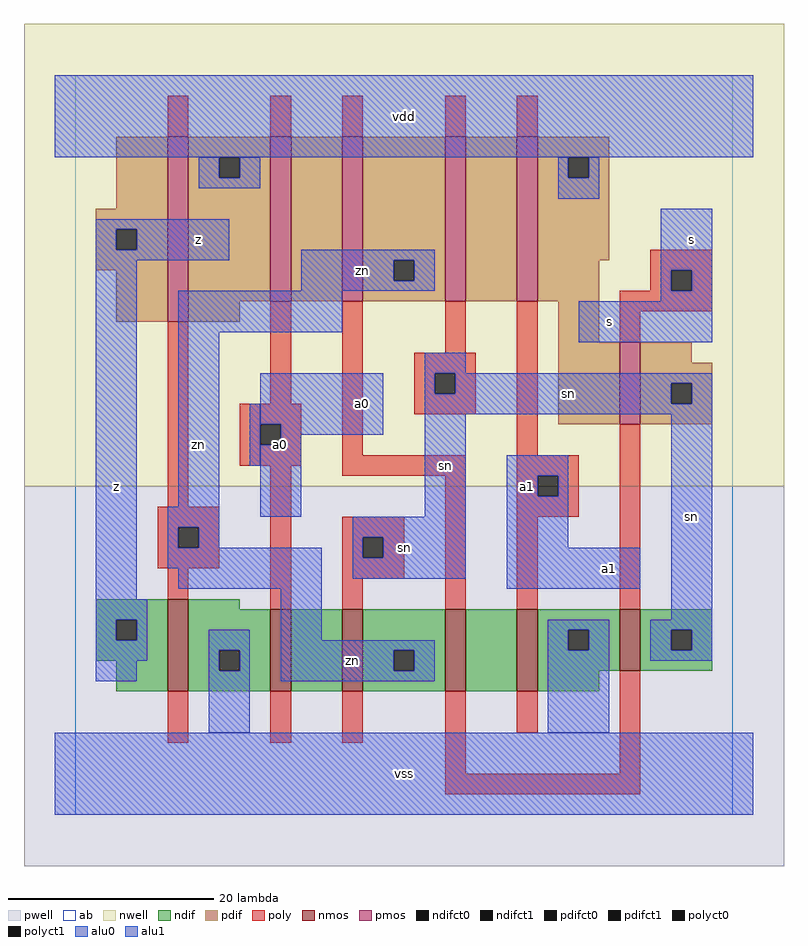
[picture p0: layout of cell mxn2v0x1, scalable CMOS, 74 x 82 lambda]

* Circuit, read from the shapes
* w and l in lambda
.subckt mxn2v0x1 a0 a1 s sn vdd vss z zn
M1 vss zn z VSUBS nfet w=9 l=2
M2 n1 a0 vss VSUBS nfet w=8 l=2
M3 zn sn n1 VSUBS nfet w=8 l=2
M4 n2 s zn VSUBS nfet w=8 l=2
M5 vss a1 n2 VSUBS nfet w=8 l=2
M6 sn s vss VSUBS nfet w=6 l=2
M7 vdd zn z n3 pfet w=18 l=2
M8 n4 a0 vdd n3 pfet w=16 l=2
M9 zn s n4 n3 pfet w=16 l=2
M10 n5 sn zn n3 pfet w=16 l=2
M11 vdd a1 n5 n3 pfet w=16 l=2
M12 sn s vdd n3 pfet w=8 l=2
.ends

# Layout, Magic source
magic
tech scmos
<< ab >>
rect 0 0 64 72
<< nwell >>
rect -5 32 69 77
<< pwell >>
rect -5 -5 69 32
<< poly >>
rect 9 66 11 70
rect 19 66 21 70
rect 26 66 28 70
rect 36 66 38 70
rect 43 66 45 70
rect 56 53 62 55
rect 56 51 58 53
rect 60 51 62 53
rect 9 30 11 48
rect 19 40 21 50
rect 16 38 22 40
rect 16 36 18 38
rect 20 36 22 38
rect 16 34 22 36
rect 26 35 28 50
rect 36 45 38 50
rect 33 43 39 45
rect 33 41 35 43
rect 37 41 39 43
rect 33 39 39 41
rect 43 35 45 50
rect 53 49 62 51
rect 53 46 55 49
rect 8 28 14 30
rect 8 26 10 28
rect 12 26 14 28
rect 8 24 14 26
rect 9 21 11 24
rect 19 20 21 34
rect 26 33 38 35
rect 26 27 32 29
rect 26 25 28 27
rect 30 25 32 27
rect 26 23 32 25
rect 26 20 28 23
rect 36 20 38 33
rect 43 33 49 35
rect 43 31 45 33
rect 47 31 49 33
rect 43 29 49 31
rect 43 20 45 29
rect 53 20 55 38
rect 9 7 11 12
rect 19 7 21 12
rect 26 7 28 12
rect 36 4 38 12
rect 43 8 45 12
rect 53 4 55 14
rect 36 2 55 4
<< ndif >>
rect 2 19 9 21
rect 2 17 4 19
rect 6 17 9 19
rect 2 15 9 17
rect 4 12 9 15
rect 11 20 16 21
rect 11 16 19 20
rect 11 14 14 16
rect 16 14 19 16
rect 11 12 19 14
rect 21 12 26 20
rect 28 16 36 20
rect 28 14 31 16
rect 33 14 36 16
rect 28 12 36 14
rect 38 12 43 20
rect 45 18 53 20
rect 45 16 48 18
rect 50 16 53 18
rect 45 14 53 16
rect 55 18 62 20
rect 55 16 58 18
rect 60 16 62 18
rect 55 14 62 16
rect 45 12 51 14
<< pdif >>
rect 4 59 9 66
rect 2 57 9 59
rect 2 55 4 57
rect 6 55 9 57
rect 2 53 9 55
rect 4 48 9 53
rect 11 64 19 66
rect 11 62 14 64
rect 16 62 19 64
rect 11 50 19 62
rect 21 50 26 66
rect 28 54 36 66
rect 28 52 31 54
rect 33 52 36 54
rect 28 50 36 52
rect 38 50 43 66
rect 45 64 52 66
rect 45 62 48 64
rect 50 62 52 64
rect 45 54 52 62
rect 45 50 51 54
rect 11 48 16 50
rect 47 46 51 50
rect 47 38 53 46
rect 55 44 60 46
rect 55 42 62 44
rect 55 40 58 42
rect 60 40 62 42
rect 55 38 62 40
<< alu1 >>
rect -2 64 66 72
rect 2 57 15 58
rect 2 55 4 57
rect 6 55 15 57
rect 2 54 15 55
rect 2 21 6 54
rect 57 53 62 59
rect 57 51 58 53
rect 60 51 62 53
rect 57 50 62 51
rect 49 46 62 50
rect 18 38 30 43
rect 20 37 30 38
rect 20 36 22 37
rect 18 29 22 36
rect 42 33 48 35
rect 42 31 45 33
rect 47 31 48 33
rect 42 26 48 31
rect 42 22 55 26
rect 2 19 7 21
rect 2 17 4 19
rect 6 17 7 19
rect 2 15 7 17
rect 2 13 6 15
rect -2 0 66 8
<< nmos >>
rect 9 12 11 21
rect 19 12 21 20
rect 26 12 28 20
rect 36 12 38 20
rect 43 12 45 20
rect 53 14 55 20
<< pmos >>
rect 9 48 11 66
rect 19 50 21 66
rect 26 50 28 66
rect 36 50 38 66
rect 43 50 45 66
rect 53 38 55 46
<< polyct0 >>
rect 35 41 37 43
rect 10 26 12 28
rect 28 25 30 27
<< polyct1 >>
rect 58 51 60 53
rect 18 36 20 38
rect 45 31 47 33
<< ndifct0 >>
rect 14 14 16 16
rect 31 14 33 16
rect 48 16 50 18
rect 58 16 60 18
<< ndifct1 >>
rect 4 17 6 19
<< pdifct0 >>
rect 14 62 16 64
rect 31 52 33 54
rect 48 62 50 64
rect 58 40 60 42
<< pdifct1 >>
rect 4 55 6 57
<< alu0 >>
rect 12 62 14 64
rect 16 62 18 64
rect 12 61 18 62
rect 47 62 48 64
rect 50 62 51 64
rect 47 60 51 62
rect 22 54 35 55
rect 22 52 31 54
rect 33 52 35 54
rect 22 51 35 52
rect 10 47 26 51
rect 10 30 14 47
rect 34 43 38 45
rect 17 34 18 40
rect 34 41 35 43
rect 37 42 62 43
rect 37 41 58 42
rect 34 40 58 41
rect 60 40 62 42
rect 34 39 62 40
rect 9 28 14 30
rect 34 29 38 39
rect 9 26 10 28
rect 12 26 14 28
rect 27 27 38 29
rect 9 24 24 26
rect 10 22 24 24
rect 27 25 28 27
rect 30 25 38 27
rect 27 23 38 25
rect 13 16 17 18
rect 13 14 14 16
rect 16 14 17 16
rect 13 8 17 14
rect 20 17 24 22
rect 58 19 62 39
rect 46 18 52 19
rect 20 16 35 17
rect 20 14 31 16
rect 33 14 35 16
rect 20 13 35 14
rect 46 16 48 18
rect 50 16 52 18
rect 46 8 52 16
rect 56 18 62 19
rect 56 16 58 18
rect 60 16 62 18
rect 56 15 62 16
<< labels >>
rlabel alu0 12 36 12 36 6 zn
rlabel alu0 27 15 27 15 6 zn
rlabel alu0 32 26 32 26 6 sn
rlabel alu0 36 34 36 34 6 sn
rlabel alu0 28 53 28 53 6 zn
rlabel alu0 60 29 60 29 6 sn
rlabel alu0 48 41 48 41 6 sn
rlabel alu1 4 32 4 32 6 z
rlabel alu1 12 56 12 56 6 z
rlabel alu1 28 40 28 40 6 a0
rlabel alu1 20 36 20 36 6 a0
rlabel alu1 32 4 32 4 6 vss
rlabel alu1 44 32 44 32 6 a1
rlabel alu1 32 68 32 68 6 vdd
rlabel alu1 52 24 52 24 6 a1
rlabel alu1 52 48 52 48 6 s
rlabel alu1 60 56 60 56 6 s
<< end >>
